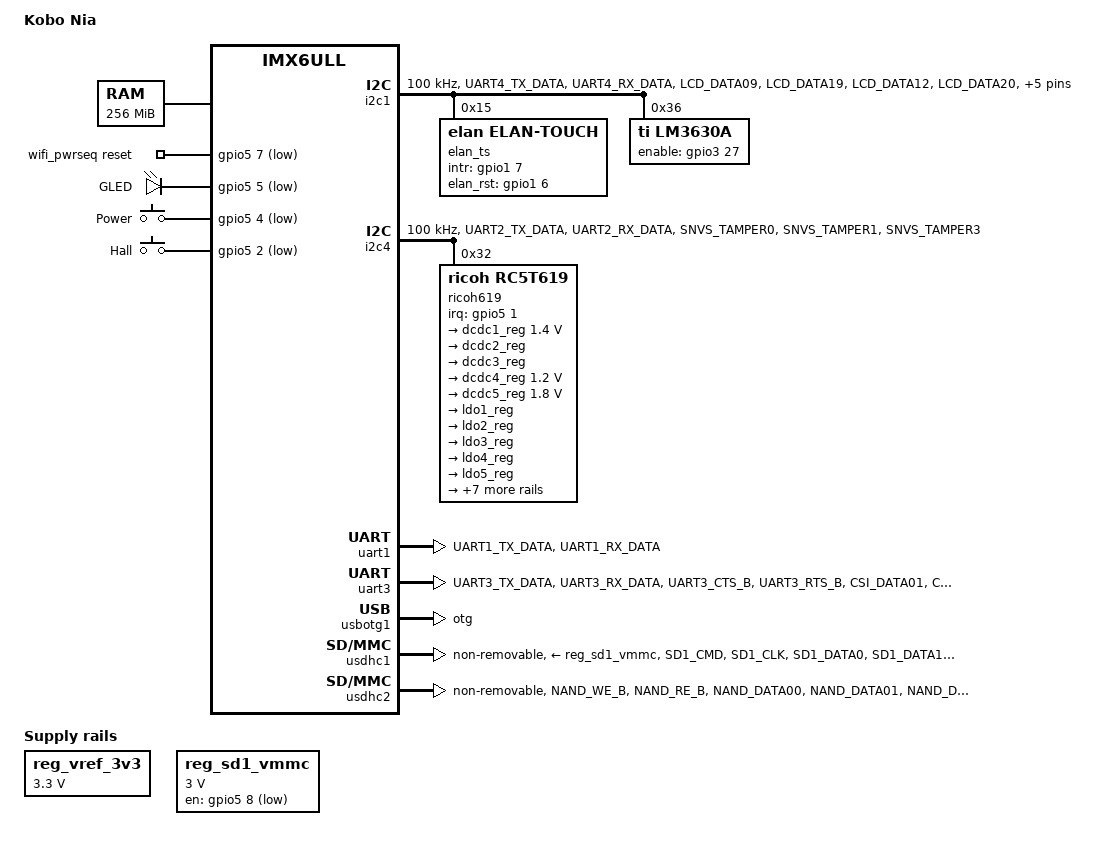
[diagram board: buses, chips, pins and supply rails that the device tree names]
/*
 * Copyright (C) 2023 Andreas Kemnade
 *
 * based on works
 * Copyright (C) 2016 Freescale Semiconductor, Inc.
 *
 * This program is free software; you can redistribute it and/or modify
 * it under the terms of the GNU General Public License version 2 as
 * published by the Free Software Foundation.
 */

/dts-v1/;

#include <dt-bindings/input/input.h>
#include "imx6ull.dtsi"

/ {
	model = "Kobo Nia";
	compatible = "kobo,nia", "fsl,imx6ull";

	chosen {
		stdout-path = &uart1;
	};

	memory {
		reg = <0x80000000 0x10000000>;
	};

	aliases {
		mmc0 = &usdhc2;
		mmc1 = &usdhc1;
	};

	reg_vref_3v3: vref3v3-regulator {
		compatible = "regulator-fixed";
		regulator-name = "vref-3v3";
		regulator-min-microvolt = <3300000>;
		regulator-max-microvolt = <3300000>;
	};

	reg_sd1_vmmc: wifi-regulator {
		compatible = "regulator-fixed";
		regulator-name = "SD1_SPWR";
		regulator-min-microvolt = <3000000>;
		regulator-max-microvolt = <3000000>;
		gpio = <&gpio5 8 GPIO_ACTIVE_LOW>;
#if 0
		wifidis-gpio = <&gpio4 23 GPIO_ACTIVE_HIGH>;
		wifirst-gpio = <&gpio5 7 GPIO_ACTIVE_HIGH>;
		wifiint-gpio = <&gpio5 6 GPIO_ACTIVE_HIGH>;
#endif

/*
		btdis-gpio = <&gpio4 22 GPIO_ACTIVE_HIGH>;
		btint-gpio = <&gpio4 24 GPIO_ACTIVE_HIGH>;
*/
	};

	wifi_pwrseq: wifi_pwrseq {
		compatible = "mmc-pwrseq-simple";
		post-power-on-delay-ms = <20>;
		reset-gpios = <&gpio5 7 GPIO_ACTIVE_LOW>;
	};


	leds {
		compatible = "gpio-leds";
		pinctrl-names = "default";
		pinctrl-0 = <&pinctrl_snvs_led>;

		user {
			label = "GLED";
			gpios = <&gpio5 5 GPIO_ACTIVE_LOW>;
			linux,default-trigger = "timer";
		};
	};

	gpio-keys {
		compatible = "gpio-keys";
		pinctrl-names = "default";
		pinctrl-0 = <&pinctrl_snvs_gpio_keys>;
		power {
			label = "Power";
			gpios = <&gpio5 4 GPIO_ACTIVE_LOW>;
			btmode0 = <&gpio5 10 GPIO_ACTIVE_LOW>;
			linux,code = <KEY_POWER>;
			wakeup-source;
		};

		hall {
			label = "Hall";
			gpios = <&gpio5 2 GPIO_ACTIVE_LOW>;
			linux,code = <SW_LID>;
			linux,input-type = <EV_SW>;
			wakeup-source;
		};
	};
};

&clks {
	/* For bringup, comments this.
	assigned-clocks = <&clks IMX6UL_CLK_PLL4_AUDIO_DIV>;
	assigned-clock-rates = <786432000>;
	*/
};

&csi {
	status = "disabled";
};

#if 0
&epdc {
	safe-ticks-turnoff-ep3v3=<400>;
	pinctrl-names = "default";
	pinctrl-0 = <&pinctrl_epdc0>;
	V3P3-supply = <&V3P3_reg>;
	VCOM-supply = <&VCOM_reg>;
	DISPLAY-supply = <&DISPLAY_reg>;
	TMST-supply = <&TMST_reg>;
	status = "okay";
};
#endif

&fec1 {
	status = "disabled";
};

#if 0
&gpc {
	fsl,cpu_pupscr_sw2iso = <0x1>;
	fsl,cpu_pupscr_sw = <0x0>;
	fsl,cpu_pdnscr_iso2sw = <0x1>;
	fsl,cpu_pdnscr_iso = <0x1>;
	fsl,ldo-bypass = <0>; /* use ldo-bypass, u-boot will check it and configure */
};
#endif

&i2c1 {
	clock-frequency = <100000>;
	pinctrl-names = "default","sleep";
	pinctrl-0 = <&pinctrl_i2c1 &pinctrl_tps65185_gpio &pinctrl_elan_ts_gpio &pinctrl_lm3630a_bl_gpio>;
	pinctrl-1 = <&pinctrl_i2c1_sleep &pinctrl_tps65185_gpio_sleep &pinctrl_elan_ts_gpio_sleep>;
	status = "okay";

	elan_ts@15 {
		compatible = "elan,elan-touch";
		reg = <0x15>;
	 
		gpio_intr = <&gpio1 7 0>;
		gpio_elan_rst = <&gpio1 6 0>;
	};

	/* single color ? */
	lm3630a: backlight@36 {
		reg = <0x36>;
		compatible = "ti,lm3630a";
		enable-gpios = <&gpio3 27 GPIO_ACTIVE_HIGH>;

		#address-cells = <1>;
		#size-cells = <0>;

		led@0 {
			reg = <0>;
			led-sources = <0>;
			label = "backlight";
			default-brightness = <0>;
			max-brightness = <255>;
		};
	};
};

&i2c4 {
	clock-frequency = <100000>;
	pinctrl-names = "default";
	pinctrl-0 = <&pinctrl_i2c4 &pinctrl_ricoh_gpio>;
	status = "okay";

	ricoh619: pmic@32 {
		compatible = "ricoh,rc5t619";
		reg = <0x32>;
		interrupt-parent = <&gpio5>;
		interrupts = <1 IRQ_TYPE_EDGE_FALLING>;
		interrupt-controller;
		#interrupt-cells = <0>;
		system-power-controller;
	
		regulators {
			dcdc1_reg: DCDC1 {
				regulator-min-microvolt = <1400000>;
				regulator-max-microvolt = <1400000>;
				regulator-name = "DCDC1";
				regulator-always-on;
				regulator-boot-on;
				regulator-state-mem {
					regulator-on-in-suspend;
					regulator-suspend-microvolt = <900000>;
				};
			};
			dcdc2_reg: DCDC2 {
				regulator-name = "DCDC2";
				regulator-always-on;
				regulator-boot-on;
				regulator-state-mem {
					regulator-on-in-suspend;
					regulator-suspend-microvolt = <3000000>;
				};
			};
			dcdc3_reg: DCDC3 {
				regulator-name = "DCDC3";
				regulator-always-on;
				regulator-boot-on;
			};
			dcdc4_reg: DCDC4 {
				regulator-min-microvolt = <1200000>;
				regulator-max-microvolt = <1200000>;
				regulator-name = "DCDC4";
				regulator-always-on;
				regulator-boot-on;
				regulator-state-mem {
					regulator-on-in-suspend;
					regulator-suspend-microvolt = <1140000>;
				};
			};
			dcdc5_reg: DCDC5 {
				regulator-min-microvolt = <1800000>;
				regulator-max-microvolt = <1800000>;
				regulator-name = "DCDC5";
				regulator-always-on;
				regulator-boot-on;
				regulator-state-mem {
					regulator-on-in-suspend;
					regulator-suspend-microvolt = <1700000>;
				};
			};
			ldo1_reg: LDO1 {
				regulator-name = "LDO1";
				//regulator-always-on;
				regulator-boot-on;
			};
			ldo2_reg: LDO2 {
				regulator-name = "LDO2";
				regulator-always-on;
				regulator-boot-on;
//				regulator-state-mem {
//					regulator-on-in-suspend;
//					regulator-suspend-microvolt = <3000000>;
//				};
			};
			ldo3_reg: LDO3 {
				regulator-name = "LDO3";
				//regulator-always-on;
				regulator-boot-on;
			};
			ldo4_reg: LDO4 {
				regulator-name = "LDO4";
				//regulator-always-on;
				regulator-boot-on;
			};
			ldo5_reg: LDO5 {
				regulator-name = "LDO5";
				regulator-always-on;
				regulator-boot-on;
			};
			ldo6_reg: LDO6  {
				regulator-min-microvolt = <600000>;
				regulator-max-microvolt = <600000>;
				regulator-name = "LDO6";
				regulator-always-on;
				regulator-boot-on;
			};
			ldo7_reg: LDO7 {
				regulator-name = "LDO7";
				regulator-always-on;
				regulator-boot-on;
			};
			ldo8_reg: LDO8  {
				regulator-min-microvolt = <1800000>;
				regulator-max-microvolt = <1800000>;
				regulator-name = "LDO8";
				regulator-always-on;
				regulator-boot-on;
			};
			ldo9_reg: LDO9 {
				regulator-name = "LDO9";
				//regulator-always-on;
				regulator-boot-on;
			};
			ldo10_reg: LDO10 {
				regulator-name = "LDO10";
				//regulator-always-on;
				regulator-boot-on;
			};
			ldortc1_reg: LDORTC1 {
				regulator-name = "LDORTC1";
				//regulator-always-on;
				regulator-boot-on;
			};
			ldortc2_reg: LDORTC2 {
				regulator-name = "LDORTC2";
				//regulator-always-on;
				regulator-boot-on;
			};
		};
	};
};

&iomuxc {
#if 0
	pinctrl_epdc0: epdcgrp0 {
		fsl,pins = <
				MX6UL_PAD_ENET2_RX_DATA0__EPDC_SDDO08	0x10b1
				MX6UL_PAD_ENET2_RX_DATA1__EPDC_SDDO09	0x10b1
				MX6UL_PAD_ENET2_RX_EN__EPDC_SDDO10   	0x10b1
				MX6UL_PAD_ENET2_TX_DATA0__EPDC_SDDO11	0x10b1
				MX6UL_PAD_ENET2_TX_DATA1__EPDC_SDDO12	0x10b1
				MX6UL_PAD_ENET2_TX_EN__EPDC_SDDO13   	0x10b1
				MX6UL_PAD_ENET2_TX_CLK__EPDC_SDDO14  	0x10b1
				MX6UL_PAD_ENET2_RX_ER__EPDC_SDDO15   	0x10b1
				MX6UL_PAD_LCD_CLK__EPDC_SDCLK		0x10b1
				MX6UL_PAD_LCD_ENABLE__EPDC_SDLE      	0x10b1
				MX6UL_PAD_LCD_HSYNC__EPDC_SDOE       	0x10b1
				MX6UL_PAD_LCD_VSYNC__EPDC_SDCE0      	0x10b1
				MX6UL_PAD_LCD_DATA00__EPDC_SDDO00    	0x10b1
				MX6UL_PAD_LCD_DATA01__EPDC_SDDO01    	0x10b1
				MX6UL_PAD_LCD_DATA02__EPDC_SDDO02    	0x10b1
				MX6UL_PAD_LCD_DATA03__EPDC_SDDO03    	0x10b1
				MX6UL_PAD_LCD_DATA04__EPDC_SDDO04    	0x10b1
				MX6UL_PAD_LCD_DATA05__EPDC_SDDO05    	0x10b1
				MX6UL_PAD_LCD_DATA06__EPDC_SDDO06    	0x10b1
				MX6UL_PAD_LCD_DATA07__EPDC_SDDO07    	0x10b1
				MX6UL_PAD_LCD_DATA14__EPDC_SDSHR     	0x10b1
				MX6UL_PAD_LCD_DATA15__EPDC_GDRL      	0x10b1
				MX6UL_PAD_LCD_DATA16__EPDC_GDCLK     	0x10b1
				MX6UL_PAD_LCD_DATA17__EPDC_GDSP      	0x10b1
				MX6UL_PAD_LCD_RESET__EPDC_GDOE       	0x10b1
	    >;
	};
#endif

	pinctrl_i2c1: i2c1grp {
		fsl,pins = <
			MX6UL_PAD_UART4_TX_DATA__I2C1_SCL	0x4001F8b0
			MX6UL_PAD_UART4_RX_DATA__I2C1_SDA	0x4001F8b0
		>;
	};

	pinctrl_i2c1_sleep: i2c1grp_sleep {
		fsl,pins = <
			MX6UL_PAD_UART4_TX_DATA__I2C1_SCL	0x400108b0
			MX6UL_PAD_UART4_RX_DATA__I2C1_SDA	0x400108b0
		>;
	};

	pinctrl_i2c4: i2c4grp {
		fsl,pins = <
			MX6UL_PAD_UART2_TX_DATA__I2C4_SCL	0x4001F8b0
			MX6UL_PAD_UART2_RX_DATA__I2C4_SDA	0x4001F8b0
		>;
	};

	pinctrl_i2c4_sleep: i2c4grp_sleep {
		fsl,pins = <
			MX6UL_PAD_UART2_TX_DATA__I2C4_SCL	0x400108b0
			MX6UL_PAD_UART2_RX_DATA__I2C4_SDA	0x400108b0
		>;
	};

	pinctrl_uart1: uart1grp {
		fsl,pins = <
			MX6UL_PAD_UART1_TX_DATA__UART1_DCE_TX 0x1b0b1
			MX6UL_PAD_UART1_RX_DATA__UART1_DCE_RX 0x1b0b1
		>;
	};

	pinctrl_uart3: uart3grp {
		fsl,pins = <
			MX6UL_PAD_UART3_TX_DATA__UART3_DCE_TX	0x1b0b1
			MX6UL_PAD_UART3_RX_DATA__UART3_DCE_RX	0x1b0b1
			MX6UL_PAD_UART3_CTS_B__UART3_DCE_CTS	0x1b0b1
			MX6UL_PAD_UART3_RTS_B__UART3_DCE_RTS	0x1b0b1
		>;
	};

	pinctrl_uart3_dte: uart3dtegrp {
		fsl,pins = <
			MX6UL_PAD_UART3_TX_DATA__UART3_DTE_RX	0x0b0b0
			MX6UL_PAD_UART3_RX_DATA__UART3_DTE_TX	0x0b0b0
			MX6UL_PAD_UART3_CTS_B__UART3_DTE_RTS	0x0b0b0
			MX6UL_PAD_UART3_RTS_B__UART3_DTE_CTS	0x0b0b0
		>;
	};

	pinctrl_uart3_dte_sleep: uart3dtesleepgrp {
		fsl,pins = <
			MX6UL_PAD_UART3_TX_DATA__UART3_DTE_RX	0x80000000
   			MX6UL_PAD_UART3_RX_DATA__UART3_DTE_TX	0x80000000
			MX6UL_PAD_UART3_CTS_B__UART3_DTE_RTS	0x80000000
			MX6UL_PAD_UART3_RTS_B__UART3_DTE_CTS	0x80000000
		>;
	};

	pinctrl_bt: btgrp {
		fsl,pins = <
			MX6UL_PAD_CSI_DATA01__GPIO4_IO22	0x80000000 /* BT DIS */
			MX6UL_PAD_CSI_DATA03__GPIO4_IO24	0x80000000 /* BT INT */
			MX6UL_PAD_CSI_DATA02__GPIO4_IO23	0x80000000 /* WIFI DIS */
		>;
	};

	pinctrl_usb_otg1_id: usbotg1idgrp {
		fsl,pins = <
			MX6UL_PAD_GPIO1_IO00__ANATOP_OTG1_ID	0x17059
		>;
	};

	pinctrl_usb_otg1: usbotg1grp {
		fsl,pins = <
			MX6UL_PAD_GPIO1_IO04__GPIO1_IO04	0x10b0
		>;
	};

	pinctrl_usdhc1: usdhc1grp {
		fsl,pins = <
			MX6UL_PAD_SD1_CMD__USDHC1_CMD     0x11059
			MX6UL_PAD_SD1_CLK__USDHC1_CLK     0x11059
			MX6UL_PAD_SD1_DATA0__USDHC1_DATA0 0x11059
			MX6UL_PAD_SD1_DATA1__USDHC1_DATA1 0x11059
			MX6UL_PAD_SD1_DATA2__USDHC1_DATA2 0x11059
			MX6UL_PAD_SD1_DATA3__USDHC1_DATA3 0x11059
		>;
	};

	pinctrl_usdhc1_sleep: usdhc1grp_sleep {
		fsl,pins = <
			MX6UL_PAD_SD1_CMD__GPIO2_IO16	0x100c1
			MX6UL_PAD_SD1_CLK__GPIO2_IO17	0x100c1
			MX6UL_PAD_SD1_DATA0__GPIO2_IO18	0x100c1
			MX6UL_PAD_SD1_DATA1__GPIO2_IO19	0x100c1
			MX6UL_PAD_SD1_DATA2__GPIO2_IO20	0x100c1
			MX6UL_PAD_SD1_DATA3__GPIO2_IO21	0x100c1
		>;
	};

	pinctrl_usdhc1_100mhz: usdhc1grp100mhz {
		fsl,pins = <
			MX6UL_PAD_SD1_CMD__USDHC1_CMD     0x170b9
			MX6UL_PAD_SD1_CLK__USDHC1_CLK     0x170b9
			MX6UL_PAD_SD1_DATA0__USDHC1_DATA0 0x170b9
			MX6UL_PAD_SD1_DATA1__USDHC1_DATA1 0x170b9
			MX6UL_PAD_SD1_DATA2__USDHC1_DATA2 0x170b9
			MX6UL_PAD_SD1_DATA3__USDHC1_DATA3 0x170b9
		>;
	};

	pinctrl_usdhc1_200mhz: usdhc1grp200mhz {
		fsl,pins = <
			MX6UL_PAD_SD1_CMD__USDHC1_CMD     0x170f9
			MX6UL_PAD_SD1_CLK__USDHC1_CLK     0x170f9
			MX6UL_PAD_SD1_DATA0__USDHC1_DATA0 0x170f9
			MX6UL_PAD_SD1_DATA1__USDHC1_DATA1 0x170f9
			MX6UL_PAD_SD1_DATA2__USDHC1_DATA2 0x170f9
			MX6UL_PAD_SD1_DATA3__USDHC1_DATA3 0x170f9
		>;
	};

	pinctrl_elan_ts_gpio: elan_ts_gpio_grp {
		fsl,pins = <
			MX6UL_PAD_GPIO1_IO07__GPIO1_IO07		0x17059 /* TP_INT */
			MX6UL_PAD_GPIO1_IO06__GPIO1_IO06		0x10059 /* TP_RST */
		>;
	};

	pinctrl_elan_ts_gpio_sleep: elan_ts_gpio_grp_sleep {
		fsl,pins = <
			MX6UL_PAD_GPIO1_IO07__GPIO1_IO07		0x10059 /* TP_INT */
			MX6UL_PAD_GPIO1_IO06__GPIO1_IO06		0x10059 /* TP_RST */
		>;
	};

	pinctrl_tps65185_gpio: tps65185_gpio_grp {
		fsl,pins = <
			MX6UL_PAD_LCD_DATA09__GPIO3_IO14		0x40010059 /* EP_PWRALL */
			MX6UL_PAD_LCD_DATA19__GPIO3_IO24		0x40010059 /* VCOM_CTRL0 */
			MX6UL_PAD_LCD_DATA12__GPIO3_IO17		0x40010059 /* EP_PWRCTRL0 EP_WAKEUP */
			MX6UL_PAD_LCD_DATA20__GPIO3_IO25		0x40010059 /* EP_PWRCTRL1 PWRUP */
			MX6UL_PAD_UART5_RX_DATA__GPIO1_IO31			0x17059 /* EP_PWRSTAT */
			MX6UL_PAD_UART5_TX_DATA__GPIO1_IO30			0x17059 /* EP_INT */
		>;
	};

	pinctrl_tps65185_gpio_sleep: tps65185_gpio_sleep_grp {
		fsl,pins = <
			MX6UL_PAD_LCD_DATA09__GPIO3_IO14		0x10059 /* EP_PWRALL */
			MX6UL_PAD_LCD_DATA19__GPIO3_IO24		0x10059 /* VCOM_CTRL0 */
			MX6UL_PAD_LCD_DATA12__GPIO3_IO17		0x10059 /* EP_PWRCTRL0 EP_WAKEUP */
			MX6UL_PAD_LCD_DATA20__GPIO3_IO25		0x10059 /* EP_PWRCTRL1 PWRUP */
			MX6UL_PAD_UART5_RX_DATA__GPIO1_IO31			0x13059 /* EP_PWRSTAT */
			MX6UL_PAD_UART5_TX_DATA__GPIO1_IO30			0x13059 /* EP_INT */
		>;
	};

	pinctrl_lm3630a_bl_gpio: lm3630a_bl_gpio_grp {
		fsl,pins = <
			MX6UL_PAD_LCD_DATA22__GPIO3_IO27		0x17059 /* FL_EN */
		>;
	};

	pinctrl_usdhc1_vselect: usdhc1_vselect_grp {
		fsl,pins = <
			MX6UL_PAD_GPIO1_IO05__USDHC1_VSELECT	0x17059	/* SD1 VSELECT */
		>;
	};

	pinctrl_usdhc2: usdhc2grp {
		fsl,pins = <
			MX6UL_PAD_NAND_WE_B__USDHC2_CMD	0x17059
			MX6UL_PAD_NAND_RE_B__USDHC2_CLK	0x10059
			MX6UL_PAD_NAND_DATA00__USDHC2_DATA0	0x17059
			MX6UL_PAD_NAND_DATA01__USDHC2_DATA1	0x17059
			MX6UL_PAD_NAND_DATA02__USDHC2_DATA2	0x17059
			MX6UL_PAD_NAND_DATA03__USDHC2_DATA3	0x17059
		>;
	};

	pinctrl_usdhc2_sleep: usdhc2grp_sleep {
		fsl,pins = <
			MX6UL_PAD_NAND_WE_B__USDHC2_CMD	0x10059
			MX6UL_PAD_NAND_RE_B__USDHC2_CLK	0x10059
			MX6UL_PAD_NAND_DATA00__USDHC2_DATA0	0x10059
			MX6UL_PAD_NAND_DATA01__USDHC2_DATA1	0x10059
			MX6UL_PAD_NAND_DATA02__USDHC2_DATA2	0x10059
			MX6UL_PAD_NAND_DATA03__USDHC2_DATA3	0x10059
		>;
	};

	pinctrl_usdhc2_100mhz: usdhc2grp100mhz {
		fsl,pins = <
			MX6UL_PAD_NAND_WE_B__USDHC2_CMD	0x170b9
			MX6UL_PAD_NAND_RE_B__USDHC2_CLK	0x100a9
			MX6UL_PAD_NAND_DATA00__USDHC2_DATA0	0x170a9
			MX6UL_PAD_NAND_DATA01__USDHC2_DATA1	0x170a9
			MX6UL_PAD_NAND_DATA02__USDHC2_DATA2	0x170a9
			MX6UL_PAD_NAND_DATA03__USDHC2_DATA3	0x170a9
		>;
	};

	pinctrl_usdhc2_200mhz: usdhc2grp200mhz {
		fsl,pins = <
			MX6UL_PAD_NAND_WE_B__USDHC2_CMD	0x170f9
			MX6UL_PAD_NAND_RE_B__USDHC2_CLK	0x100f9
			MX6UL_PAD_NAND_DATA00__USDHC2_DATA0	0x170f9
			MX6UL_PAD_NAND_DATA01__USDHC2_DATA1	0x170f9
			MX6UL_PAD_NAND_DATA02__USDHC2_DATA2	0x170f9
			MX6UL_PAD_NAND_DATA03__USDHC2_DATA3	0x170f9
		>;
	};

	pinctrl_usdhc2_rst: usdhc2_rst_grp {
		fsl,pins = <
			MX6UL_PAD_NAND_ALE__GPIO4_IO10	  0x17059 /* SD2 RESET */
		>;
	};
};

&iomuxc_snvs {
	pinctrl_snvs_gpio_keys: gpio_snvs_keys_grp {
		fsl,pins = <
			MX6ULL_PAD_SNVS_TAMPER2__GPIO5_IO02 0x17059 /* HALL_EN */
			MX6ULL_PAD_SNVS_TAMPER4__GPIO5_IO04	0x17059	/* PWR_SW */
			MX6UL_PAD_BOOT_MODE0__GPIO5_IO10 0x80000000    /* BOOT_MODE0 */
		>;
	};

	pinctrl_snvs_led: led_grp {
		fsl,pins = <
			MX6ULL_PAD_SNVS_TAMPER5__GPIO5_IO05	0x80000000	/* ON_LED */
		>;
	};

	pinctrl_ricoh_gpio: ricoh_gpio_grp {
		fsl,pins = <
			MX6ULL_PAD_SNVS_TAMPER0__GPIO5_IO00		0x17059 /* ricoh619 CHG# */
			MX6ULL_PAD_SNVS_TAMPER1__GPIO5_IO01		0x17059 /* ricoh619 irq */
			MX6ULL_PAD_SNVS_TAMPER3__GPIO5_IO03		0x17059 /* ricoh619 bat_low_irq */
		>;
	};

	pinctrl_usdhc1_pwr: usdhc1_pwr_grp {
		fsl,pins = <
			MX6ULL_PAD_SNVS_TAMPER6__GPIO5_IO06		0x10059	/* WIFI_INT */
			MX6ULL_PAD_SNVS_TAMPER7__GPIO5_IO07		0x10059	/* WIFI_RST */
			MX6ULL_PAD_SNVS_TAMPER8__GPIO5_IO08		0x10059	/* WIFI_3V3_ON */
		>;
	};
};

&snvs_rtc {
	/* we are using the rtc in the pmic, not disabled in imx6ul.dtsi */
	status = "disabled";
};

&uart1 {
	pinctrl-names = "default";
	pinctrl-0 = <&pinctrl_uart1>;
	status = "okay";
};

&uart2 {
	pinctrl-names = "default";
	fsl,uart-has-rtscts;
	/* for DTE mode, add below change */
	fsl,dte-mode;
	/* pinctrl-0 = <&pinctrl_uart2dte>; */
	status = "disabled";
};

&uart3 {
	pinctrl-names = "default","sleep";
	fsl,uart-has-rtscts;
	fsl,dte-mode;
	pinctrl-0 = <&pinctrl_uart3_dte>, <&pinctrl_bt>;
	pinctrl-1 = <&pinctrl_uart3_dte_sleep>;
	status = "okay";
};

&usbotg1 {
	dr_mode = "otg";
	srp-disable;
	hnp-disable;
	adp-disable;
	status = "okay";
};

&usdhc1 {
	pinctrl-names = "default", "state_100mhz", "state_200mhz", "sleep";
	pinctrl-0 = <&pinctrl_usdhc1>, <&pinctrl_usdhc1_pwr>;
	pinctrl-1 = <&pinctrl_usdhc1_100mhz>;
	pinctrl-2 = <&pinctrl_usdhc1_200mhz>;
	pinctrl-3 = <&pinctrl_usdhc1_sleep>, <&pinctrl_usdhc1_pwr>;
	vmmc-supply = <&reg_sd1_vmmc>;
	cap-power-off-card;
	non-removable;
	status = "okay";
};

&usdhc2 {
	pinctrl-names = "default","sleep";
	pinctrl-0 = <&pinctrl_usdhc2>;
	pinctrl-1 = <&pinctrl_usdhc2_sleep>;
	non-removable;
	no-1-8-v;	/* VSELECT not connected by default */
	keep-power-in-suspend;
	status = "okay";
};

&i2c1 {
	sy7636@62 {
	    compatible = "Silergy,sy7636";
	    reg = <0x62>;
	    /*
	 * power on delay for SY7636
	 * 0x0 : 0ms
	 * 0x1 : 1ms
	 * 0x2 : 2ms
	 * 0x3 : 4ms
	 * chip default is 2ms .
	 */
	on_delay1 = <0x2>;
	on_delay2 = <0x2>;
	on_delay3 = <0x2>;
	on_delay4 = <0x2>;

		turnoff_delay_ep3v3 = <100>;

	/*
	 * VLDO Voltage Adjustment Control 
	 * 0x0 = reserved
	 * 0x1 = +/-18V
	 * 0x2 = +/-15.25V
	 * 0x3 = +/-15V (default)
	 * 0x4 = +/-14.75V
	 * 0x5 = +/-14.5V
	 * 0x6 = +/-14.25V
	 * 0x7 = reserved
	VLDO = <0x2>;
	 */

	gpio_pmic_pwrgood = <&gpio1 13 0>;
	gpio_pmic_vcom_ctrl = <&gpio3 24 GPIO_ACTIVE_HIGH>;
	gpio_pmic_powerup = <&gpio3 25 GPIO_ACTIVE_HIGH>;

	/* gpio_pmic_v3p3 = <&gpio2 14 GPIO_ACTIVE_HIGH>; */
	gpio_pmic_pwrall = <&gpio3 14 GPIO_ACTIVE_HIGH>;
	status = "disabled";

	regulators {
		DISPLAY_SY7636_reg: DISPLAY_SY7636 {
			regulator-name = "DISPLAY_SY7636";
		};
 
		VCOM_SY7636_reg: VCOM_SY7636 {
			regulator-name = "VCOM_SY7636";
			/* 2's-compliment, -4325000 */
			regulator-min-microvolt = <0xffbe0178>;
			/* 2's-compliment, -500000 */
			regulator-max-microvolt = <0xfff85ee0>;
		};

		V3P3_SY7636_reg: V3P3_SY7636 {
			regulator-name = "V3P3_SY7636";
		};

		TMST_SY7636_reg: TMST_SY7636 {
			regulator-name = "TMST_SY7636";
		};
	};
};
};
